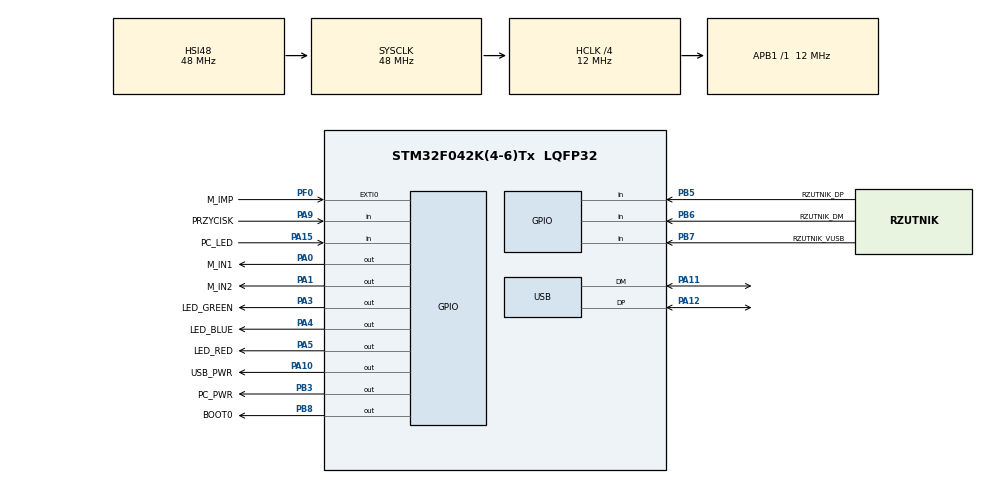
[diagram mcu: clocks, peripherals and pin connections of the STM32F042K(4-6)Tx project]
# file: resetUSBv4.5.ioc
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Mcu.Family=STM32F0
Mcu.Name=STM32F042K(4-6)Tx
Mcu.Package=LQFP32
NVIC.TIM14_IRQn=true\:0\:0\:false\:false\:true\:true
NVIC.USB_IRQn=true\:0\:0\:false\:false\:true\:false
PA0.GPIO_Label=M_IN1
PA0.Signal=GPIO_Output
PA1.GPIO_Label=M_IN2
PA1.Signal=GPIO_Output
PA10.GPIO_Label=USB_PWR
PA10.GPIO_ModeDefaultOutputPP=GPIO_MODE_OUTPUT_OD
PA10.PinState=GPIO_PIN_SET
PA10.Signal=GPIO_Output
PA11.Mode=Device
PA11.Signal=USB_DM
PA12.Mode=Device
PA12.Signal=USB_DP
PA13.Mode=Serial_Wire
PA13.Signal=SYS_SWDIO
PA14.Mode=Serial_Wire
PA14.Signal=SYS_SWCLK
PA15.GPIO_Label=PC_LED
PA15.GPIO_PuPd=GPIO_PULLDOWN
PA15.Signal=GPIO_Input
PA3.GPIO_Label=LED_GREEN
PA3.Signal=GPIO_Output
PA4.GPIO_Label=LED_BLUE
PA4.Signal=GPIO_Output
PA5.GPIO_Label=LED_RED
PA5.Signal=GPIO_Output
PA9.GPIO_Label=PRZYCISK
PA9.GPIO_PuPd=GPIO_PULLUP
PA9.Signal=GPIO_Input
PB3.GPIO_Label=PC_PWR
PB3.GPIO_ModeDefaultOutputPP=GPIO_MODE_OUTPUT_OD
PB3.PinState=GPIO_PIN_SET
PB3.Signal=GPIO_Output
PB5.GPIO_Label=RZUTNIK_DP
PB5.GPIO_PuPd=GPIO_PULLDOWN
PB5.Signal=GPIO_Input
PB6.GPIO_Label=RZUTNIK_DM
PB6.GPIO_PuPd=GPIO_PULLDOWN
PB6.Signal=GPIO_Input
PB7.GPIO_Label=RZUTNIK_VUSB
PB7.GPIO_PuPd=GPIO_PULLDOWN
PB7.Signal=GPIO_Input
PB8.GPIO_Label=BOOT0
PB8.Signal=GPIO_Output
PF0-OSC_IN.GPIO_Label=M_IMP
PF0-OSC_IN.GPIO_PuPd=GPIO_PULLUP
PF0-OSC_IN.Signal=GPXTI0
ProjectManager.HeapSize=0x200
ProjectManager.StackSize=0x400
ProjectManager.TargetToolchain=SW4STM32
RCC.AHBCLKDivider=RCC_SYSCLK_DIV4
RCC.AHBFreq_Value=12000000
RCC.APB1Freq_Value=12000000
RCC.APB1TimFreq_Value=12000000
RCC.HCLKFreq_Value=12000000
RCC.PLLMUL=RCC_PLL_MUL5
RCC.SYSCLKFreq_VALUE=48000000
RCC.SYSCLKSource=RCC_SYSCLKSOURCE_HSI48
TIM14.Period=50000
TIM14.Prescaler=5
USB_DEVICE.APP_RX_DATA_SIZE=256
USB_DEVICE.APP_TX_DATA_SIZE=256
USB_DEVICE.CLASS_NAME_FS=CDC
USB_DEVICE.USBD_SELF_POWERED=0
USB_DEVICE.VirtualMode=Cdc
USB_DEVICE.VirtualModeFS=Cdc_FS
VP_TIM14_VS_ClockSourceINT.Mode=Enable_Timer
VP_USB_DEVICE_VS_USB_DEVICE_CDC_FS.Mode=CDC_FS
board=resetUSBv4.5

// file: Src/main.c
/**
  ******************************************************************************
  * @file           : main.c
  * @brief          : Main program body
  ******************************************************************************
  * This notice applies to any and all portions of this file
  * that are not between comment pairs USER CODE BEGIN and
  * USER CODE END. Other portions of this file, whether
  * inserted by the user or by software development tools
  * are owned by their respective copyright owners.
  *
  * Copyright (c) 2018 STMicroelectronics International N.V.
  * All rights reserved.
  *
  * Redistribution and use in source and binary forms, with or without
  * modification, are permitted, provided that the following conditions are met:
  *
  * 1. Redistribution of source code must retain the above copyright notice,
  *    this list of conditions and the following disclaimer.
  * 2. Redistributions in binary form must reproduce the above copyright notice,
  *    this list of conditions and the following disclaimer in the documentation
  *    and/or other materials provided with the distribution.
  * 3. Neither the name of STMicroelectronics nor the names of other
  *    contributors to this software may be used to endorse or promote products
  *    derived from this software without specific written permission.
  * 4. This software, including modifications and/or derivative works of this
  *    software, must execute solely and exclusively on microcontroller or
  *    microprocessor devices manufactured by or for STMicroelectronics.
  * 5. Redistribution and use of this software other than as permitted under
  *    this license is void and will automatically terminate your rights under
  *    this license.
  *
  * THIS SOFTWARE IS PROVIDED BY STMICROELECTRONICS AND CONTRIBUTORS "AS IS"
  * AND ANY EXPRESS, IMPLIED OR STATUTORY WARRANTIES, INCLUDING, BUT NOT
  * LIMITED TO, THE IMPLIED WARRANTIES OF MERCHANTABILITY, FITNESS FOR A
  * PARTICULAR PURPOSE AND NON-INFRINGEMENT OF THIRD PARTY INTELLECTUAL PROPERTY
  * RIGHTS ARE DISCLAIMED TO THE FULLEST EXTENT PERMITTED BY LAW. IN NO EVENT
  * SHALL STMICROELECTRONICS OR CONTRIBUTORS BE LIABLE FOR ANY DIRECT, INDIRECT,
  * INCIDENTAL, SPECIAL, EXEMPLARY, OR CONSEQUENTIAL DAMAGES (INCLUDING, BUT NOT
  * LIMITED TO, PROCUREMENT OF SUBSTITUTE GOODS OR SERVICES; LOSS OF USE, DATA,
  * OR PROFITS; OR BUSINESS INTERRUPTION) HOWEVER CAUSED AND ON ANY THEORY OF
  * LIABILITY, WHETHER IN CONTRACT, STRICT LIABILITY, OR TORT (INCLUDING
  * NEGLIGENCE OR OTHERWISE) ARISING IN ANY WAY OUT OF THE USE OF THIS SOFTWARE,
  * EVEN IF ADVISED OF THE POSSIBILITY OF SUCH DAMAGE.
  *
  ******************************************************************************
  */
#include "main.h"
#include "stm32f0xx_hal.h"
#include "usb_device.h"

/* USER CODE BEGIN Includes */
#include "usbd_cdc_if.h" // Plik bedacy interfejsem uzytkownika do kontrolera USB
#include "komendy_at/komendy_at.h"
/* USER CODE END Includes */

TIM_HandleTypeDef htim14;

/* USER CODE BEGIN PV */
/* Private variables ---------------------------------------------------------*/
uint8_t DataToSend[40]; // Tablica zawierajaca dane do wyslania
uint8_t MessageCounter = 0; // Licznik wyslanych wiadomosci
uint8_t MessageLength = 0; // Zawiera dlugosc wysylanej wiadomosci

uint8_t ReceivedData[40]; // Tablica przechowujaca odebrane dane
uint8_t ReceivedDataFlag = 0; // Flaga informujaca o odebraniu danych

enum stany_silownika {
	silownik_stop, silownik_gora, silownik_dol
};

volatile enum stany_silownika stan_silownika = silownik_stop;
volatile uint8_t stan_silownika_flag = 0;
volatile uint8_t przycisk_flag = 0;

volatile uint8_t pc_on, rz_on, przycisk_on, pc_pwr;
volatile uint8_t tryb = 0; // 0 - normalny, 1 - serwisowy
volatile uint8_t flag_zmiana_trybu;

volatile uint8_t flag_1Hz;
volatile uint8_t flag_2Hz;
/* USER CODE END PV */

void SystemClock_Config(void);
static void MX_GPIO_Init(void);
static void MX_TIM14_Init(void);

/* USER CODE BEGIN PFP */
/* Private function prototypes -----------------------------------------------*/
#define PC_ON ( HAL_GPIO_ReadPin(PC_LED_GPIO_Port, PC_LED_Pin) )
#define RZUTNIK_ON ( HAL_GPIO_ReadPin(RZUTNIK_VUSB_GPIO_Port, RZUTNIK_VUSB_Pin|RZUTNIK_DM_Pin|RZUTNIK_DP_Pin) )
#define PRZYCISK_DOWN ( HAL_GPIO_ReadPin(PRZYCISK_GPIO_Port, PRZYCISK_Pin) == 0)
#define PWR_ON ( HAL_GPIO_WritePin(PC_PWR_GPIO_Port, PC_PWR_Pin, GPIO_PIN_RESET) )
#define PWR_OFF ( HAL_GPIO_WritePin(PC_PWR_GPIO_Port, PC_PWR_Pin, GPIO_PIN_SET) )
#define RED_ON ( HAL_GPIO_WritePin(LED_RED_GPIO_Port, LED_RED_Pin, GPIO_PIN_SET) )
#define RED_OFF ( HAL_GPIO_WritePin(LED_RED_GPIO_Port, LED_RED_Pin, GPIO_PIN_RESET) )
#define RED_TOG ( HAL_GPIO_TogglePin(LED_RED_GPIO_Port, LED_RED_Pin) )
#define GREEN_ON ( HAL_GPIO_WritePin(LED_GREEN_GPIO_Port, LED_GREEN_Pin, GPIO_PIN_SET) )
#define GREEN_OFF ( HAL_GPIO_WritePin(LED_GREEN_GPIO_Port, LED_GREEN_Pin, GPIO_PIN_RESET) )
#define GREEN_TOG ( HAL_GPIO_TogglePin(LED_GREEN_GPIO_Port, LED_GREEN_Pin) )
#define BLUE_ON ( HAL_GPIO_WritePin(LED_BLUE_GPIO_Port, LED_BLUE_Pin, GPIO_PIN_SET) )
#define BLUE_OFF ( HAL_GPIO_WritePin(LED_BLUE_GPIO_Port, LED_BLUE_Pin, GPIO_PIN_RESET) )
#define BLUE_TOG ( HAL_GPIO_TogglePin(LED_BLUE_GPIO_Port, LED_BLUE_Pin) )
#define USB_PWR_ON ( HAL_GPIO_WritePin(USB_PWR_GPIO_Port, USB_PWR_Pin, GPIO_PIN_RESET) )
#define USB_PWR_OFF ( HAL_GPIO_WritePin(USB_PWR_GPIO_Port, USB_PWR_Pin, GPIO_PIN_SET) )

void inline SILOWNIK_STOP() {
	HAL_GPIO_WritePin(M_IN1_GPIO_Port, M_IN1_Pin | M_IN2_Pin, GPIO_PIN_RESET);
}
void inline SILOWNIK_GORA() {
	HAL_GPIO_WritePin(M_IN1_GPIO_Port, M_IN1_Pin, GPIO_PIN_RESET);
	HAL_GPIO_WritePin(M_IN1_GPIO_Port, M_IN2_Pin, GPIO_PIN_SET);
}
void inline SILOWNIK_DOL() {
	HAL_GPIO_WritePin(M_IN1_GPIO_Port, M_IN2_Pin, GPIO_PIN_RESET);
	HAL_GPIO_WritePin(M_IN1_GPIO_Port, M_IN1_Pin, GPIO_PIN_SET);
}

//void HAL_TIM_PeriodElapsedCallback(TIM_HandleTypeDef *htim)
//{
//	if(htim->Instance == TIM14)	// 20 Hz
//	{
//		if(PRZYCISK_DOWN)
//		{
//			RED_TOG;
//			BLUE_TOG;
//			GREEN_TOG;
//		}
//	}
//}

void HAL_TIM_PeriodElapsedCallback(TIM_HandleTypeDef *htim) {
	if (htim->Instance == TIM14)	// 40 Hz
	{
		const uint8_t licznik_2Hz_max = 20 - 1;
		static uint8_t licznik_2Hz = licznik_2Hz_max;
		const uint8_t licznik_1Hz_max = 2 - 1;
		static uint8_t licznik_1Hz = licznik_1Hz_max;

		if (licznik_2Hz)
			licznik_2Hz--;
		else {
			licznik_2Hz = licznik_2Hz_max;
			flag_2Hz = 1;
			if (licznik_1Hz)
				licznik_1Hz--;
			else {
				licznik_1Hz = licznik_1Hz_max;
				flag_1Hz = 1;
			}
		}

		// Parametry obslugi sygnalow i przycisku
		const uint8_t reakcja_na_sygnal_czas = 120;	// reakcja na sygnal, gdy utrzyma sie dluzej niz zadana liczba dziesi¹tych czêœci sekund (40 Hz)
		const uint8_t reakcja_na_przycisk_czas = 2;	// reakcja na przycisk, musi byc wcisniety dluzej niz 0,05 s.
		const uint8_t pc_pwr_czas = 20;	// wcisniecie przycisku PWR po zadanym czasie (40 Hz)
		const uint8_t tryb_czas_na_wcisniecia = 40;	// czas w ktorym trzeba wcisnac przycisk n razy
		const uint8_t tryb_ilosc_wcisniec_zmiana = 3;// po ilu wcisnieciach zmieni sie tryb na serwisowy

		static uint8_t pc_on_s, pc_off_s;// zliczanie sekund wlaczenia\wylaczenia PC i jego stan
		static uint8_t rz_on_s, rz_off_s;// zliczanie sekund wlaczenia\wylaczenia rzutnika i jego stan
		static uint8_t przycisk_on_s;// zliczanie sekund wcisniecia przycisku i jego stan

		// ---------- Licznik najblizszego czasu ----------
		static uint8_t licznik = 0;
		if (licznik)
			licznik--;
		// ----- reakcja na przycisk - filtracja i zliczanie wciœniêæ -----
		static uint8_t wcisniecia = 0;
		if (PRZYCISK_DOWN) {

			if (przycisk_on_s < 255)
				przycisk_on_s++; // licznik czasu wcisniecia przycisku
			if (przycisk_on_s >= reakcja_na_przycisk_czas) // reakcja na wcisniecie przycisku, gdy wcisniety dluzej niz
					{
				przycisk_on = 1;	// Ustaw stan przycisku na 1 - wcisniety
				if (!licznik) {
					if (tryb) // Obs³uga silnika w trybie serwisowym
					{
						if (wcisniecia == 1) // silownik w dó³
								{
							if (stan_silownika == silownik_stop)
								stan_silownika = silownik_dol;
							else
								stan_silownika = silownik_stop;
							stan_silownika_flag = 1;
						} else if (wcisniecia == 2) // silownik w gore
								{
							if (stan_silownika == silownik_stop)
								stan_silownika = silownik_gora;
							else
								stan_silownika = silownik_stop;
							stan_silownika_flag = 1;
						}
						// 1 dó³
						// 2 góra
						// gdy siê porusza, 1 lub 2 wy³¹cza ruch
					}

					wcisniecia = 0; // Gdy licznik doliczyl do zera wyzeruj wcisniecia
				}
				if (!wcisniecia)
					licznik = tryb_czas_na_wcisniecia; // Po pierwszym wcisnieciu przycisku wyzeruj licznik - zliczaj wcisniecia z ostatnich 1,5 s
				if (przycisk_on_s == reakcja_na_przycisk_czas) // Licz wcisniecia tylko w ustalonym czasie reakcji na przycisk
						{
					wcisniecia++;
					if (wcisniecia == tryb_ilosc_wcisniec_zmiana) // Zmiana trybu po osiagnieciu ustalonej liczby wcisniec
							{
						flag_zmiana_trybu = 1; // zmiana trybu serwisowy/normalny
						wcisniecia = 0; // wyzeruj ilosc wcisniec i licznik (kolejne 3 wcisniecia liczone beda od nowa)
						licznik = 0;
						// Zatrzymaj ruch silownika
						stan_silownika = silownik_stop;
						stan_silownika_flag = 1;
					} // Zmiana trybu
				} // Licz wcisniecia

				// Ustaw flage pc_pwr po zadanym czasie wcisniecia przycisku
				if (przycisk_on_s >= pc_pwr_czas)
					pc_pwr = 1;
				else
					pc_pwr = 0;
			} // Reakcja na wcisniety przycisk
		} // PRZYCISK_DOWN
		else // Przycisk nie wcisniety
		{
			przycisk_on = 0;
			przycisk_on_s = 0;
			pc_pwr = 0;
		}

		// ---------- reakcja na sygnal od PC i rzutnika ----------
		if (PC_ON) { // PC wlaczony
			if (pc_on_s < reakcja_na_sygnal_czas)
				pc_on_s++;
			else
				pc_on = 1;
			pc_off_s = 0;
		} else { // PC wylaczony
			if (pc_off_s < reakcja_na_sygnal_czas)
				pc_off_s++;
			else
				pc_on = 0;
			pc_on_s = 0;
		}
		if (RZUTNIK_ON) { // rzutnik wlaczony
			if (rz_on_s < reakcja_na_sygnal_czas)
				rz_on_s++;
			else
				rz_on = 1;
			rz_off_s = 0;
		} else { // rzutnik wylaczony
			if (rz_off_s < reakcja_na_sygnal_czas)
				rz_off_s++;
			else
				rz_on = 0;
			rz_on_s = 0;
		}
	} // TIM14
}
/* USER CODE END PFP */

int main(void)
{

  /* MCU Configuration----------------------------------------------------------*/

  /* Reset of all peripherals, Initializes the Flash interface and the Systick. */
  HAL_Init();

  /* Configure the system clock */
  SystemClock_Config();

  /* Initialize all configured peripherals */
  MX_GPIO_Init();
  MX_TIM14_Init();
  MX_USB_DEVICE_Init();
  /* USER CODE BEGIN 2 */
	HAL_TIM_Base_Start_IT(&htim14);
	// Testowe mrugranie diod
	for (int i = 0; i < 10; i++) {
		RED_TOG;
		GREEN_TOG;
		BLUE_TOG;
		HAL_Delay(250);
	}

	RED_ON;
	//GREEN_ON;
	//BLUE_ON;
//	while (1) {
//		if (flag_1Hz) {
//			flag_1Hz = 0;
//
//			++MessageCounter;
//			MessageLength = sprintf(DataToSend, "Wiadomosc nr %d\n\r",
//					MessageCounter);
//			CDC_Transmit_FS(DataToSend, MessageLength);
//			BLUE_TOG;
//		}
//		// Przycisk wcisniety dluzej niz 1s
//		if (pc_pwr) {
//			PWR_ON;
//			GREEN_ON;
//
//		} else {
//			PWR_OFF;
//			GREEN_OFF;
//		}
//	}

//    while(1)
//    {
////		if(PRZYCISK_DOWN)
////		{
////		  GREEN_ON;
////		  BLUE_OFF;
////		  HAL_GPIO_WritePin(BOOT0_GPIO_Port, BOOT0_Pin, GPIO_PIN_SET);
////		  HAL_Delay(1000);
////		  NVIC_SystemReset();
////		}
////		  else
////		  {
////			  GREEN_TOG;
////			  BLUE_ON;
////			  HAL_Delay(100);
////		  }
//
//		// Odeslanie odebranych danych przez USB
//		if (ReceivedDataFlag == 1) {
//			ReceivedDataFlag = 0;
//			parse_uart_data(ReceivedData);
//		}
//    }

	const uint8_t liczba_prob_wylaczenia = 5;
	const uint8_t czas_na_wylaczenie = 60; //s
	const uint8_t czas_na_wlaczenie = 10; //s
	const uint8_t czas_wylaczanie_twarde = 10; //s
	const uint8_t czas_praca_silownika_max = 30; //s
	uint8_t czas_praca_silownika = 0;
	uint8_t flag_praca_silownika = 0;
	uint8_t flag_czekaj = 0;
	uint8_t flag_wylaczanie = 0;
	uint8_t flag_wylaczanie_twarde = 0;
	uint8_t flag_wlaczanie = 0;
	uint8_t licznik_prob = 0;
  /* USER CODE END 2 */

  /* Infinite loop */
  /* USER CODE BEGIN WHILE */
	uint8_t pc_pwr_poprzedni = 0;
//	while (1) {
//		if (pc_pwr && !pc_pwr_poprzedni) {
//			pc_pwr_poprzedni = 1;
//			++MessageCounter;
//			MessageLength = sprintf(DataToSend, "Wiadomosc nr %d\n\r",
//					MessageCounter);
//			CDC_Transmit_FS(DataToSend, MessageLength);
//		} else
//			pc_pwr_poprzedni = 0;
//		BLUE_TOG;
//	}

	while (1) {
		// Odeslanie odebranych danych przez USB
		if (ReceivedDataFlag == 1) {
			ReceivedDataFlag = 0;
			parse_uart_data(ReceivedData);
		}

		//watchdog
		if (flag_zmiana_trybu) // Zmiana trybu
		{
			flag_zmiana_trybu = 0;
			tryb ^= 1;
		}

		// silownik
		if (stan_silownika_flag) {
			stan_silownika_flag = 0;
			if (stan_silownika == silownik_gora) {
				SILOWNIK_GORA();
				czas_praca_silownika = czas_praca_silownika_max;
				flag_praca_silownika = 1;
			} else if (stan_silownika == silownik_dol) {
				SILOWNIK_DOL();
				czas_praca_silownika = czas_praca_silownika_max;
				flag_praca_silownika = 1;
			} else {
				SILOWNIK_STOP();
				czas_praca_silownika = 0;
				flag_praca_silownika = 0;
			}

		}

		// oczekiwanie
		if (flag_1Hz) {
			flag_1Hz = 0;
			if (flag_czekaj)
				flag_czekaj--;

			if (flag_praca_silownika) // czasowa praca silownika
			{
				if (czas_praca_silownika)
					czas_praca_silownika--;
				else {
					SILOWNIK_STOP();
					flag_praca_silownika = 0;
					stan_silownika = silownik_stop;
				}
			}
		}

		// Przycisk wcisniety dluzej niz 1s
		if (pc_pwr || flag_wylaczanie_twarde) {
			PWR_ON;
		} else if (!flag_wylaczanie_twarde)
			PWR_OFF;

		if (tryb) // serwisowy
		{
			// W trybie serwisowym wejœcia nie maj¹ wp³ywu na w³¹czanie/wy³¹czanie komputera
			if (flag_2Hz) {
				flag_2Hz = 0;
				RED_TOG;
				if (stan_silownika == silownik_stop) {
					if (PC_ON) {
						GREEN_TOG;
						USB_PWR_ON;
					} else {
						GREEN_OFF;
						USB_PWR_OFF;
					}

					if (RZUTNIK_ON)
						BLUE_TOG;
					else
						BLUE_OFF;
				} else if (stan_silownika == silownik_gora) {
					GREEN_OFF;
					BLUE_TOG;
				} else if (stan_silownika == silownik_dol) {
					BLUE_OFF;
					GREEN_TOG;
				}
			}

		} // serwisowy
		else // normalny
		{
			if (flag_2Hz) // Mruganie diod podczas wlaczania / wylaczania PC
			{
				flag_2Hz = 0;
				if (flag_wlaczanie)
					BLUE_TOG;
				if (flag_wylaczanie)
					GREEN_TOG;
				if (flag_wylaczanie_twarde) {
					// Mruganie przy twardym wylaczaniu ma byc wolniejsze
					static uint8_t opoznienie = 0;
					if (opoznienie)
						opoznienie--;
					else {
						opoznienie = 3;
						GREEN_TOG;
					}
				}
			}
			// Diody informuj¹ce
			RED_ON;
			if (PC_ON) {
				if (!(flag_wylaczanie || flag_wylaczanie_twarde))
					GREEN_ON;
			} else
				GREEN_OFF;
			if (RZUTNIK_ON) {
				if (!flag_wlaczanie)
					BLUE_ON;
			} else
				BLUE_OFF;

			// ----- Obsluga stanow -----
			if ((pc_on && rz_on) || !(pc_on || rz_on)) //wszystko jest w³¹czone / wy³¹czone - OK
					{
				licznik_prob = 0;
				flag_czekaj = 0;
				flag_wylaczanie = 0;
				flag_wylaczanie_twarde = 0;
				flag_wlaczanie = 0;
				PWR_OFF;
				if (pc_on)
					USB_PWR_ON;
				else
					USB_PWR_OFF;
			} else if (pc_on && !rz_on) //PC w³¹czony, rzutnik wy³¹czony - wy³¹cz PC
					{
				if (!flag_czekaj) // czekaj minutê po wciœniêciu
				{
					if (licznik_prob < 255)
						licznik_prob++;
					if (licznik_prob <= liczba_prob_wylaczenia) // wylacz normalnie
							{
						flag_wylaczanie = 1;
						PWR_ON;
						HAL_Delay(500);
						PWR_OFF;

						USB_PWR_OFF;
						// czekaj minutê
						flag_czekaj = czas_na_wylaczenie;
					} else // wylaczanie twarde
					{
						flag_wylaczanie_twarde = 1;
						flag_czekaj = czas_wylaczanie_twarde;
						//PWR_ON;
					}
				}
			} else if (!pc_on && rz_on) // Rzutnik w³¹czony, PC wy³¹czony - w³¹cz PC
					{
				if (!flag_czekaj) // czekaj 10s po wciœniêciu
				{
					flag_wlaczanie = 1;
					PWR_ON;
					HAL_Delay(500);
					PWR_OFF;

					USB_PWR_ON;
					// czekaj 10s
					flag_czekaj = czas_na_wlaczenie;
				}
			}
		} // normalny
  /* USER CODE END WHILE */

	}

}

void SystemClock_Config(void)
{

  RCC_OscInitTypeDef RCC_OscInitStruct;
  RCC_ClkInitTypeDef RCC_ClkInitStruct;
  RCC_PeriphCLKInitTypeDef PeriphClkInit;

    /**Initializes the CPU, AHB and APB busses clocks
    */
  RCC_OscInitStruct.OscillatorType = RCC_OSCILLATORTYPE_HSI48;
  RCC_OscInitStruct.HSI48State = RCC_HSI48_ON;
  RCC_OscInitStruct.PLL.PLLState = RCC_PLL_NONE;
  if (HAL_RCC_OscConfig(&RCC_OscInitStruct) != HAL_OK)
  {
    _Error_Handler(__FILE__, __LINE__);
  }

    /**Initializes the CPU, AHB and APB busses clocks
    */
  RCC_ClkInitStruct.ClockType = RCC_CLOCKTYPE_HCLK|RCC_CLOCKTYPE_SYSCLK
                              |RCC_CLOCKTYPE_PCLK1;
  RCC_ClkInitStruct.SYSCLKSource = RCC_SYSCLKSOURCE_HSI48;
  RCC_ClkInitStruct.AHBCLKDivider = RCC_SYSCLK_DIV4;
  RCC_ClkInitStruct.APB1CLKDivider = RCC_HCLK_DIV1;

  if (HAL_RCC_ClockConfig(&RCC_ClkInitStruct, FLASH_LATENCY_0) != HAL_OK)
  {
    _Error_Handler(__FILE__, __LINE__);
  }

  PeriphClkInit.PeriphClockSelection = RCC_PERIPHCLK_USB;
  PeriphClkInit.UsbClockSelection = RCC_USBCLKSOURCE_HSI48;

  if (HAL_RCCEx_PeriphCLKConfig(&PeriphClkInit) != HAL_OK)
  {
    _Error_Handler(__FILE__, __LINE__);
  }

    /**Configure the Systick interrupt time
    */
  HAL_SYSTICK_Config(HAL_RCC_GetHCLKFreq()/1000);

    /**Configure the Systick
    */
  HAL_SYSTICK_CLKSourceConfig(SYSTICK_CLKSOURCE_HCLK);

  /* SysTick_IRQn interrupt configuration */
  HAL_NVIC_SetPriority(SysTick_IRQn, 0, 0);
}

/* TIM14 init function */
static void MX_TIM14_Init(void)
{

  htim14.Instance = TIM14;
  htim14.Init.Prescaler = 5;
  htim14.Init.CounterMode = TIM_COUNTERMODE_UP;
  htim14.Init.Period = 50000;
  htim14.Init.ClockDivision = TIM_CLOCKDIVISION_DIV1;
  htim14.Init.AutoReloadPreload = TIM_AUTORELOAD_PRELOAD_DISABLE;
  if (HAL_TIM_Base_Init(&htim14) != HAL_OK)
  {
    _Error_Handler(__FILE__, __LINE__);
  }

}

/** Configure pins as
        * Analog
        * Input
        * Output
        * EVENT_OUT
        * EXTI
*/
static void MX_GPIO_Init(void)
{

  GPIO_InitTypeDef GPIO_InitStruct;

  /* GPIO Ports Clock Enable */
  __HAL_RCC_GPIOF_CLK_ENABLE();
  __HAL_RCC_GPIOA_CLK_ENABLE();
  __HAL_RCC_GPIOB_CLK_ENABLE();

  /*Configure GPIO pin Output Level */
  HAL_GPIO_WritePin(GPIOA, M_IN1_Pin|M_IN2_Pin|LED_GREEN_Pin|LED_BLUE_Pin
                          |LED_RED_Pin, GPIO_PIN_RESET);

  /*Configure GPIO pin Output Level */
  HAL_GPIO_WritePin(USB_PWR_GPIO_Port, USB_PWR_Pin, GPIO_PIN_SET);

  /*Configure GPIO pin Output Level */
  HAL_GPIO_WritePin(PC_PWR_GPIO_Port, PC_PWR_Pin, GPIO_PIN_SET);

  /*Configure GPIO pin Output Level */
  HAL_GPIO_WritePin(BOOT0_GPIO_Port, BOOT0_Pin, GPIO_PIN_RESET);

  /*Configure GPIO pin : M_IMP_Pin */
  GPIO_InitStruct.Pin = M_IMP_Pin;
  GPIO_InitStruct.Mode = GPIO_MODE_IT_RISING;
  GPIO_InitStruct.Pull = GPIO_PULLUP;
  HAL_GPIO_Init(M_IMP_GPIO_Port, &GPIO_InitStruct);

  /*Configure GPIO pins : M_IN1_Pin M_IN2_Pin LED_GREEN_Pin LED_BLUE_Pin
                           LED_RED_Pin */
  GPIO_InitStruct.Pin = M_IN1_Pin|M_IN2_Pin|LED_GREEN_Pin|LED_BLUE_Pin
                          |LED_RED_Pin;
  GPIO_InitStruct.Mode = GPIO_MODE_OUTPUT_PP;
  GPIO_InitStruct.Pull = GPIO_NOPULL;
  GPIO_InitStruct.Speed = GPIO_SPEED_FREQ_LOW;
  HAL_GPIO_Init(GPIOA, &GPIO_InitStruct);

  /*Configure GPIO pin : PRZYCISK_Pin */
  GPIO_InitStruct.Pin = PRZYCISK_Pin;
  GPIO_InitStruct.Mode = GPIO_MODE_INPUT;
  GPIO_InitStruct.Pull = GPIO_PULLUP;
  HAL_GPIO_Init(PRZYCISK_GPIO_Port, &GPIO_InitStruct);

  /*Configure GPIO pin : USB_PWR_Pin */
  GPIO_InitStruct.Pin = USB_PWR_Pin;
  GPIO_InitStruct.Mode = GPIO_MODE_OUTPUT_OD;
  GPIO_InitStruct.Pull = GPIO_NOPULL;
  GPIO_InitStruct.Speed = GPIO_SPEED_FREQ_LOW;
  HAL_GPIO_Init(USB_PWR_GPIO_Port, &GPIO_InitStruct);

  /*Configure GPIO pin : PC_LED_Pin */
  GPIO_InitStruct.Pin = PC_LED_Pin;
  GPIO_InitStruct.Mode = GPIO_MODE_INPUT;
  GPIO_InitStruct.Pull = GPIO_PULLDOWN;
  HAL_GPIO_Init(PC_LED_GPIO_Port, &GPIO_InitStruct);

  /*Configure GPIO pin : PC_PWR_Pin */
  GPIO_InitStruct.Pin = PC_PWR_Pin;
  GPIO_InitStruct.Mode = GPIO_MODE_OUTPUT_OD;
  GPIO_InitStruct.Pull = GPIO_NOPULL;
  GPIO_InitStruct.Speed = GPIO_SPEED_FREQ_LOW;
  HAL_GPIO_Init(PC_PWR_GPIO_Port, &GPIO_InitStruct);

  /*Configure GPIO pins : RZUTNIK_DP_Pin RZUTNIK_DM_Pin RZUTNIK_VUSB_Pin */
  GPIO_InitStruct.Pin = RZUTNIK_DP_Pin|RZUTNIK_DM_Pin|RZUTNIK_VUSB_Pin;
  GPIO_InitStruct.Mode = GPIO_MODE_INPUT;
  GPIO_InitStruct.Pull = GPIO_PULLDOWN;
  HAL_GPIO_Init(GPIOB, &GPIO_InitStruct);

  /*Configure GPIO pin : BOOT0_Pin */
  GPIO_InitStruct.Pin = BOOT0_Pin;
  GPIO_InitStruct.Mode = GPIO_MODE_OUTPUT_PP;
  GPIO_InitStruct.Pull = GPIO_NOPULL;
  GPIO_InitStruct.Speed = GPIO_SPEED_FREQ_LOW;
  HAL_GPIO_Init(BOOT0_GPIO_Port, &GPIO_InitStruct);

}

void _Error_Handler(char *file, int line)
{
	while (1) {
	}
}

/************************ (C) COPYRIGHT STMicroelectronics *****END OF FILE****/
